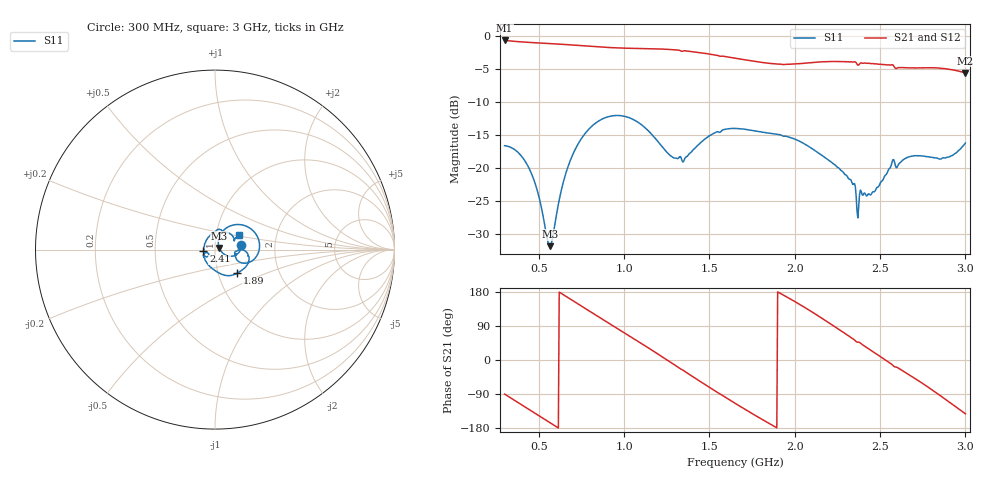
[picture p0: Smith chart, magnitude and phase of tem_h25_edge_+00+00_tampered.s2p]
! tem_h25_edge_+00+00_tampered
! simulated by sim/fixtures_fdtd.py (S12 = S21, S22 not computed)
# HZ S RI R 50
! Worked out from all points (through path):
!   541 points, 300 MHz to 3 GHz, reference 50 ohm
!   highest |S21| = -0.68 dB at 300 MHz (marker M1); lowest = -5.6 dB at 3 GHz (marker M2)
!   group delay of S21, straight-line fit = 784 ps
!   lowest |S11| = -31.8 dB at 565 MHz (marker M3), VSWR 1.05, Z = 52.4 + j0.958 ohm
!   |S11| at or under -10 dB: start of sweep to end of sweep
!   |S22| runs from - to - dB; largest |S21 - S12| = 0
!   S11 on the Smith chart (normalised r, x): 300 MHz: 1.34, +0.07; 1.89 GHz: 1.23, -0.34; 2.41 GHz: 0.88, -0.02; 3 GHz: 1.29, +0.21
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3e8  0.145 0.0273  0.000332 -0.9252  0.000332 -0.9252  0 0
4.5e8  0.0877 -0.0375  -0.6037 -0.6584  -0.6037 -0.6584  0 0
5.65e8  0.0239 0.00913  -0.847 -0.2243  -0.847 -0.2243  0 0
6.55e8  0.0294 0.0827  -0.8466 0.1617  -0.8466 0.1617  0 0
7.5e8  0.0972 0.1358  -0.6675 0.5172  -0.6675 0.5172  0 0
8.6e8  0.1991 0.1162  -0.3009 0.7681  -0.3009 0.7681  0 0
9.7e8  0.2481 0.0282  0.1301 0.801  0.1301 0.801  0 0
1.08e9  0.2159 -0.0555  0.5189 0.6154  0.5189 0.6154  0 0
1.2e9  0.1406 -0.0713  0.7701 0.2111  0.7701 0.2111  0 0
1.31e9  0.1143 -0.0299  0.7477 -0.2294  0.7477 -0.2294  0 0
1.445e9  0.154 -0.000579  0.4151 -0.6222  0.4151 -0.6222  0 0
1.54e9  0.1846 -0.0285  0.0802 -0.7119  0.0802 -0.7119  0 0
1.65e9  0.1848 -0.0753  -0.2779 -0.6199  -0.2779 -0.6199  0 0
1.89e9  0.1232 -0.1321  -0.6139 -0.0254  -0.6139 -0.0254  0 0
2.1e9  0.0346 -0.1363  -0.3808 0.5011  -0.3808 0.5011  0 0
2.25e9  -0.0229 -0.0989  0.0746 0.6359  0.0746 0.6359  0 0
2.345e9  -0.0582 -0.048  0.3664 0.5186  0.3664 0.5186  0 0
2.37e9  -0.034 -0.0244  0.41 0.4394  0.41 0.4394  0 0
2.41e9  -0.0641 -0.00897  0.5028 0.3706  0.5028 0.3706  0 0
2.55e9  -0.00641 0.0973  0.6022 -0.0571  0.6022 -0.0571  0 0
2.805e9  0.1083 0.0528  0.1101 -0.564  0.1101 -0.564  0 0
3e9  0.1331 0.0788  -0.4123 -0.3243  -0.4123 -0.3243  0 0
